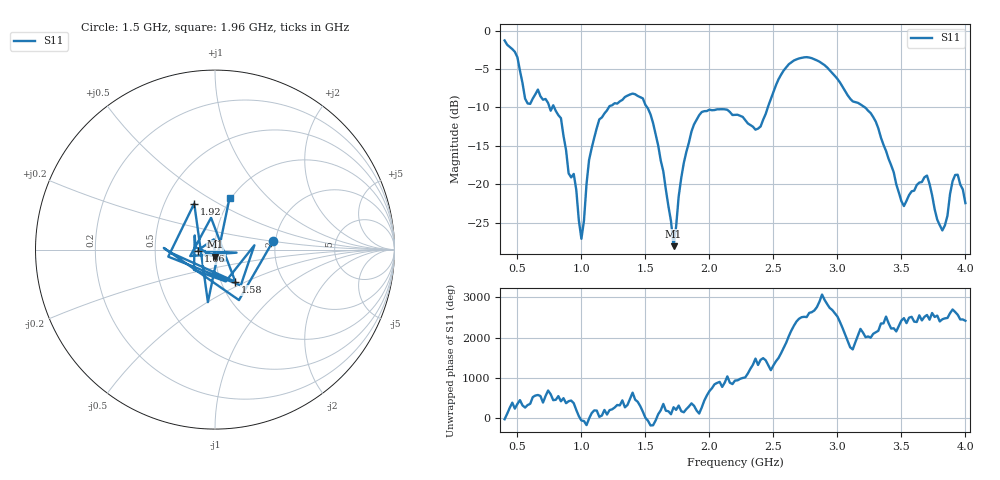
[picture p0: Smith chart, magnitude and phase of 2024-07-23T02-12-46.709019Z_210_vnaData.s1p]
!Created with skrf (http://scikit-rf.org).
# Hz S RI R 50.0
!freq ReS11 ImS11
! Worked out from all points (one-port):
!   181 points, 400 MHz to 4 GHz, reference 50 ohm
!   lowest |S11| = -28.1 dB at 1.72 GHz (marker M1), VSWR 1.08, Z = 49.8 - j3.95 ohm
!   |S11| at or under -10 dB: 787.9 MHz to 1.213 GHz (425.5 MHz wide, 42.5 % of centre); 1.514 GHz to 2.456 GHz (941.7 MHz wide, 47.4 % of centre); 3.216 GHz to end of sweep (the widest 3 of 4)
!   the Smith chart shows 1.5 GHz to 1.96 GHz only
!   S11 on the Smith chart (normalised r, x): 1.5 GHz: 1.95, +0.22; 1.58 GHz: 1.17, -0.44; 1.66 GHz: 0.83, -0.01; 1.92 GHz: 0.70, +0.39; 1.96 GHz: 0.98, +0.62
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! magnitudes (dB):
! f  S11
! 400 MHz  -1.3
! 580 MHz  -9.5
! 660 MHz  -7.7
! 860 MHz  -13.7
! 900 MHz  -18.6
! 940 MHz  -18.6
! 1 GHz  -27.1
! 1.06 GHz  -16.8
! 1.12 GHz  -12.7
! 1.3 GHz  -9.2
! 1.5 GHz  -9.7
! 1.58 GHz  -13.5
! 1.66 GHz  -20.7
! 1.72 GHz  -28.1
! 1.76 GHz  -21.6
! 1.92 GHz  -11.0
! 1.96 GHz  -10.5
! 2.2 GHz  -11.0
! 2.4 GHz  -12.5
! 2.66 GHz  -3.9
! 3.1 GHz  -8.9
! 3.3 GHz  -11.8
! 3.52 GHz  -22.8
! 3.56 GHz  -21.4
! 3.7 GHz  -18.9
! 3.82 GHz  -26.0
! 3.92 GHz  -18.8
! 4 GHz  -22.4
